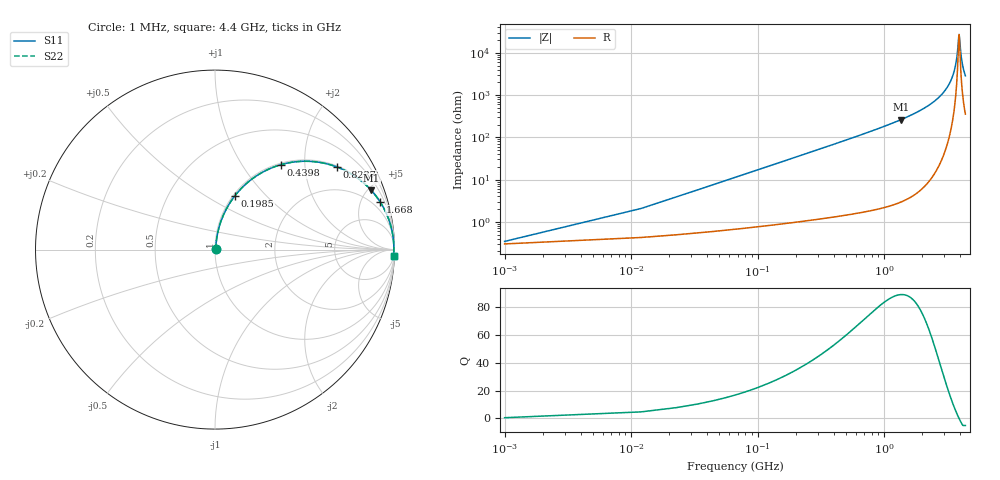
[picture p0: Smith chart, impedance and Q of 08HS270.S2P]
! Coilcraft 0805HS-270 Chip Inductor
! 13 June 2002
# MHZ S MA R 50
!Freq  MagS11  AngS11  MagS21  AngS21  MagS12  AngS12  MagS22  AngS22
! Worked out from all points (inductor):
!   403 points, 1 MHz to 4.4 GHz, reference 50 ohm
!   read as one part in series: L = 27 nH near 22.94 MHz
!   highest Q = 89 at 1.361 GHz (marker M1), where L = 30.7 nH
!   self-resonance near 3.917 GHz
!   S11 on the Smith chart (normalised r, x): 1 MHz: 1.01, +0.00; 198.5 MHz: 1.02, +0.68; 439.8 MHz: 1.03, +1.51; 823.8 MHz: 1.04, +2.92; 1.668 GHz: 1.08, +6.91; 4.4 GHz: 8, -57
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1  0.003449 29.3  0.997 -0.1  0.997 -0.1  0.003449 29.3
33.91  0.05738 81.3  0.9929 -3.3  0.9929 -3.3  0.05738 81.3
55.85  0.09396 80.8  0.9893 -5.4  0.9893 -5.4  0.09396 80.8
110.7  0.1835 77.0  0.9753 -10.6  0.9753 -10.6  0.1835 77.0
198.46  0.3172 69.9  0.9392 -18.5  0.9392 -18.5  0.3172 69.9
308.16  0.4614 61.3  0.877 -27.5  0.877 -27.5  0.4614 61.3
439.8  0.5978 52.3  0.791 -36.7  0.791 -36.7  0.5978 52.3
735.99  0.7861 37.4  0.6074 -51.8  0.6074 -51.8  0.7861 37.4
823.75  0.8205 34.1  0.5612 -55.1  0.5612 -55.1  0.8205 34.1
1361.28  0.9311 20.8  0.3546 -68.6  0.3546 -68.6  0.9311 20.8
1470.98  0.9423 18.9  0.3245 -70.4  0.3245 -70.4  0.9423 18.9
1668.44  0.9576 16.1  0.2771 -73.2  0.2771 -73.2  0.9576 16.1
2205.97  0.9811 10.3  0.1792 -78.8  0.1792 -78.8  0.9811 10.3
2940.96  0.9934 5.0  0.0872 -83.2  0.0872 -83.2  0.9934 5.0
3390.73  0.9959 2.5  0.04385 -83.4  0.04385 -83.4  0.9959 2.5
3675.95  0.9964 1.1  0.01973 -79.0  0.01973 -79.0  0.9964 1.1
3774.68  0.9965 0.7  0.01201 -72.5  0.01201 -72.5  0.9965 0.7
3895.35  0.9964 0.1  0.00417 -29.7  0.00417 -29.7  0.9964 0.1
3928.26  0.9963 -0.0  0.003686 6.9  0.003686 6.9  0.9963 -0.0
4037.96  0.9962 -0.5  0.009484 65.9  0.009484 65.9  0.9962 -0.5
4125.72  0.996 -0.9  0.01563 74.6  0.01563 74.6  0.996 -0.9
4400  0.9951 -2.0  0.03469 80.9  0.03469 80.9  0.9951 -2.0
